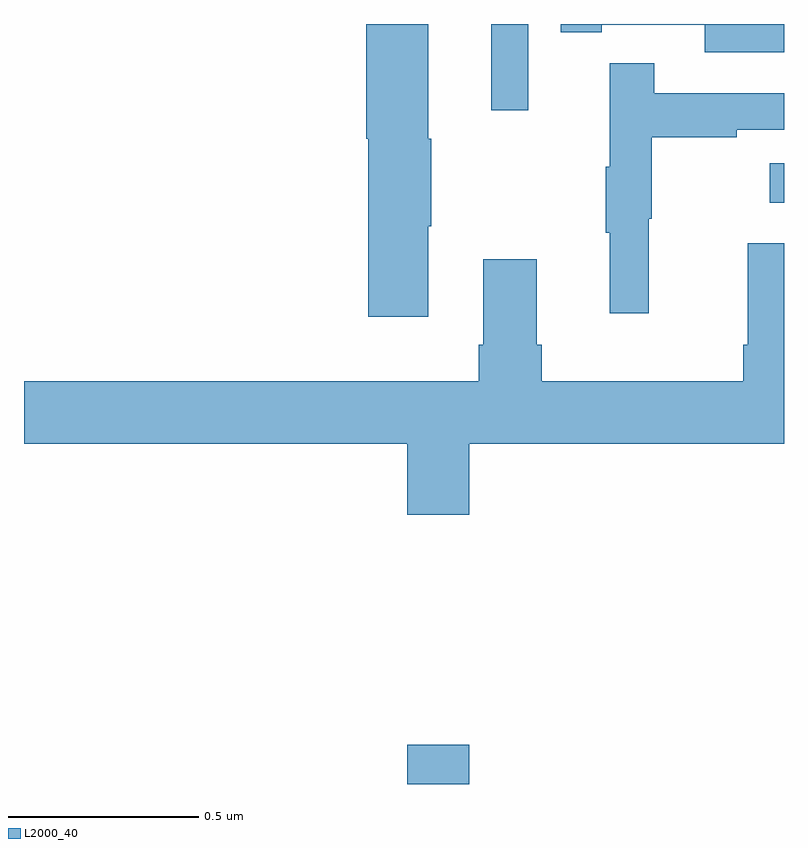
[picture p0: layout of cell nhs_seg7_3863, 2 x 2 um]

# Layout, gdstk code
import gdstk
lib = gdstk.Library(unit=1e-6, precision=1e-09)
def R(c, l, rs):  # rectangles x0, y0, x1, y1
    for r in rs: c.add(gdstk.rectangle(r[:2], r[2:], *l))
def P(c, l, *ps):  # polygons
    for p in ps: c.add(gdstk.Polygon(p, *l))
L2000_40 = (2000, 40)

nhs_seg7_3863 = lib.new_cell('nhs_seg7_3863')
R(nhs_seg7_3863, L2000_40, [(165.008,1053,165.172,1053.103), (165.963,1054.529,166,1054.633), (165.23,1054.773,165.327,1055)])
P(nhs_seg7_3863, L2000_40, [(165.064,1054.468),(165.072,1054.468),(165.072,1054.698),(165.064,1054.698),(165.064,1055),(164.9,1055),(164.9,1054.698),(164.906,1054.698),(164.906,1054.23),(165.064,1054.23)],
  [(166,1055),(165.412,1055),(165.412,1054.978),(165.52,1054.978),(165.52,1054.998),(165.792,1054.998),(165.792,1054.926),(166,1054.926)],
  [(165.644,1054.488),(165.652,1054.488),(165.652,1054.702),(165.875,1054.702),(165.875,1054.722),(166,1054.722),(166,1054.818),(165.659,1054.818),(165.659,1054.897),(165.542,1054.897),(165.542,1054.625),(165.531,1054.625),(165.531,1054.451),(165.542,1054.451),(165.542,1054.239),(165.644,1054.239)],
  [(165.172,1053.896),(166,1053.896),(166,1054.423),(165.905,1054.423),(165.905,1054.156),(165.893,1054.156),(165.893,1054.06),(165.362,1054.06),(165.362,1054.156),(165.349,1054.156),(165.349,1054.381),(165.209,1054.381),(165.209,1054.156),(165.197,1054.156),(165.197,1054.06),(164,1054.06),(164,1053.896),(165.008,1053.896),(165.008,1053.708),(165.172,1053.708)])

lib.write_gds('nhs_seg7_3863.gds')
